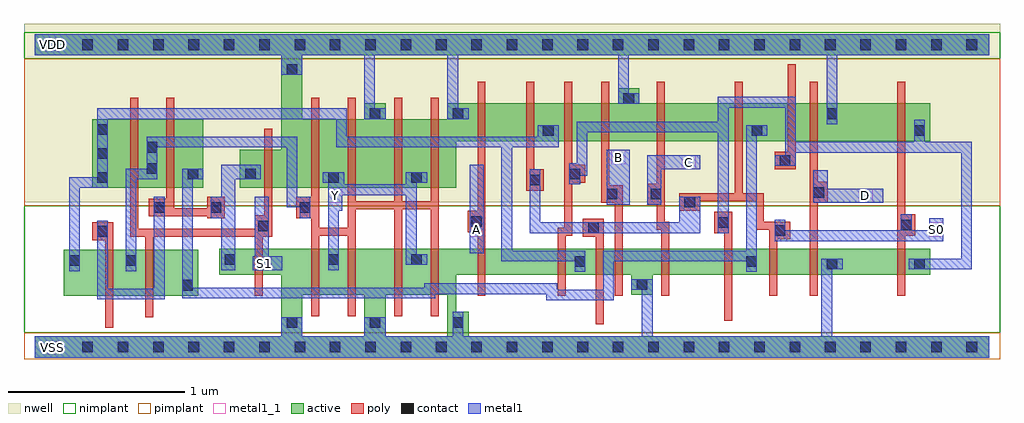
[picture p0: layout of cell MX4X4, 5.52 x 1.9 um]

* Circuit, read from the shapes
.subckt MX4X4 A B C D S0 S1 VDD VSS Y
M1 n1 n2 n3 VSS nfet w=0.26u l=0.045u
M2 n4 S1 n1 VSS nfet w=0.26u l=0.045u
M3 VSS S1 n2 VSS nfet w=0.145u l=0.045u
M4 Y n1 VSS VSS nfet w=0.26u l=0.045u m=4
M5 n5 A VSS VSS nfet w=0.145u l=0.045u
M6 n3 n6 n5 VSS nfet w=0.145u l=0.045u
M7 n7 S0 n3 VSS nfet w=0.145u l=0.045u
M8 VSS B n7 VSS nfet w=0.145u l=0.045u
M9 n8 C VSS VSS nfet w=0.145u l=0.045u
M10 n4 n6 n8 VSS nfet w=0.145u l=0.045u
M11 n9 S0 n4 VSS nfet w=0.145u l=0.045u
M12 VSS D n9 VSS nfet w=0.145u l=0.045u
M13 n6 S0 VSS VSS nfet w=0.145u l=0.045u
M14 n1 S1 n3 VDD pfet w=0.39u l=0.045u
M15 n4 n2 n1 VDD pfet w=0.39u l=0.045u
M16 VDD S1 n2 VDD pfet w=0.215u l=0.045u
M17 Y n1 VDD VDD pfet w=0.39u l=0.045u m=4
M18 n10 A VDD VDD pfet w=0.215u l=0.045u
M19 n3 S0 n10 VDD pfet w=0.215u l=0.045u
M20 n11 n6 n3 VDD pfet w=0.215u l=0.045u
M21 VDD B n11 VDD pfet w=0.215u l=0.045u
M22 n12 C VDD VDD pfet w=0.215u l=0.045u
M23 n4 S0 n12 VDD pfet w=0.215u l=0.045u
M24 n13 n6 n4 VDD pfet w=0.215u l=0.045u
M25 VDD D n13 VDD pfet w=0.215u l=0.045u
M26 n6 S0 VDD VDD pfet w=0.215u l=0.045u
.ends

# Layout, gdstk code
import gdstk
lib = gdstk.Library(unit=1e-6, precision=5e-10)
def R(c, l, rs):  # rectangles x0, y0, x1, y1
    for r in rs: c.add(gdstk.rectangle(r[:2], r[2:], *l))
def A(c, l, x, y, w, h, nx, ny, dx, dy):  # array of equal rectangles
    R(c, l, [(x+i*dx, y+j*dy, x+i*dx+w, y+j*dy+h) for i in range(nx) for j in range(ny)])
def P(c, l, *ps):  # polygons
    for p in ps: c.add(gdstk.Polygon(p, *l))
active = (1, 0)
nwell = (2, 0)
poly = (3, 0)
nimplant = (4, 0)
pimplant = (5, 0)
contact = (6, 0)
metal1 = (7, 0)
metal1_1 = (7, 1)

mx4x4 = lib.new_cell('MX4X4')
R(mx4x4, active, [(0.165,0.29,0.925,0.55), (0.325,0.9,0.955,1.29)])
P(mx4x4, active, [(0,1.77),(5.4,1.77),(5.4,1.65),(1.515,1.65),(1.515,1.29),(1.865,1.29),(1.865,1.38),(1.985,1.38),(1.985,1.29),(2.335,1.29),(2.335,1.38),(3.3,1.38),(3.3,1.465),(3.42,1.465),(3.42,1.38),(5.065,1.38),(5.065,1.165),(2.385,1.165),(2.385,0.9),(1.16,0.9),(1.16,1.115),(1.395,1.115),(1.395,1.65),(0,1.65)],
  [(1.045,0.555),(5.065,0.555),(5.065,0.41),(3.495,0.41),(3.495,0.295),(3.375,0.295),(3.375,0.41),(2.385,0.41),(2.385,0.2),(2.455,0.2),(2.455,0.06),(5.4,0.06),(5.4,-0.06),(0,-0.06),(0,0.06),(1.395,0.06),(1.395,0.295),(1.515,0.295),(1.515,0.06),(1.865,0.06),(1.865,0.295),(1.985,0.295),(1.985,0.06),(2.335,0.06),(2.335,0.295),(1.395,0.295),(1.395,0.41),(1.045,0.41)])
R(mx4x4, nwell, [(-0.06,0.82,5.46,1.83)])
P(mx4x4, poly, [(0.54,1.41),(0.585,1.41),(0.585,0.67),(1.245,0.67),(1.245,0.745),(1.3,0.745),(1.3,1.235),(1.345,1.235),(1.345,0.625),(1.29,0.625),(1.29,0.29),(1.245,0.29),(1.245,0.625),(0.67,0.625),(0.67,0.17),(0.625,0.17),(0.625,0.625),(0.54,0.625)],
  [(0.745,1.41),(0.79,1.41),(0.79,0.785),(0.975,0.785),(0.975,0.85),(1.075,0.85),(1.075,0.73),(0.975,0.73),(0.975,0.74),(0.645,0.74),(0.645,0.84),(0.745,0.84)],
  [(1.565,1.41),(1.61,1.41),(1.61,0.675),(1.77,0.675),(1.77,1.41),(1.815,1.41),(1.815,0.825),(2.035,0.825),(2.035,1.41),(2.08,1.41),(2.08,0.825),(2.24,0.825),(2.24,1.41),(2.285,1.41),(2.285,0.175),(2.24,0.175),(2.24,0.78),(2.08,0.78),(2.08,0.175),(2.035,0.175),(2.035,0.78),(1.815,0.78),(1.815,0.175),(1.77,0.175),(1.77,0.63),(1.61,0.63),(1.61,0.175),(1.565,0.175),(1.565,0.73),(1.48,0.73),(1.48,0.85),(1.565,0.85)],
  [(2.505,1.5),(2.55,1.5),(2.55,0.29),(2.505,0.29),(2.505,0.65),(2.45,0.65),(2.45,0.77),(2.505,0.77)],
  [(2.78,1.5),(2.825,1.5),(2.825,1.005),(2.88,1.005),(2.88,0.885),(2.78,0.885)],
  [(2.995,1.5),(3.04,1.5),(3.04,1.03),(3.115,1.03),(3.115,0.93),(3.04,0.93),(3.04,0.63),(3.005,0.63),(3.005,0.29),(2.96,0.29),(2.96,0.675),(2.995,0.675)],
  [(3.205,1.5),(3.25,1.5),(3.25,0.915),(3.325,0.915),(3.325,0.29),(3.28,0.29),(3.28,0.815),(3.205,0.815)],
  [(3.52,1.5),(3.565,1.5),(3.565,0.71),(3.59,0.71),(3.59,0.29),(3.545,0.29),(3.545,0.665),(3.52,0.665),(3.52,0.805),(3.465,0.805),(3.465,0.925),(3.52,0.925)],
  [(3.96,1.5),(4.005,1.5),(4.005,0.87),(4.125,0.87),(4.125,0.71),(4.275,0.71),(4.275,0.61),(4.2,0.61),(4.2,0.29),(4.155,0.29),(4.155,0.665),(4.08,0.665),(4.08,0.825),(3.765,0.825),(3.765,0.77),(3.645,0.77),(3.645,0.87),(3.96,0.87)],
  [(4.26,1.6),(4.305,1.6),(4.305,1.005),(4.185,1.005),(4.185,1.105),(4.26,1.105)],
  [(4.385,1.5),(4.43,1.5),(4.43,0.935),(4.485,0.935),(4.485,0.815),(4.43,0.815),(4.43,0.29),(4.385,0.29)],
  [(4.88,1.5),(4.925,1.5),(4.925,0.75),(4.98,0.75),(4.98,0.63),(4.925,0.63),(4.925,0.29),(4.88,0.29)],
  [(3.1,0.725),(3.22,0.725),(3.22,0.13),(3.175,0.13),(3.175,0.625),(3.1,0.625)],
  [(3.845,0.765),(3.945,0.765),(3.945,0.15),(3.9,0.15),(3.9,0.645),(3.845,0.645)],
  [(0.325,0.705),(0.445,0.705),(0.445,0.11),(0.4,0.11),(0.4,0.605),(0.325,0.605)])
R(mx4x4, nimplant, [(-0.06,0.08,5.46,0.8), (-0.06,1.63,5.46,1.78)])
R(mx4x4, pimplant, [(-0.06,-0.07,5.46,0.08), (-0.06,0.8,5.46,1.63)])
A(mx4x4, contact, 0.07, -0.03, 0.06, 0.06, 27, 2, 0.2, 1.71)
A(mx4x4, contact, 1.425, 0.11, 0.06, 0.06, 3, 1, 0.47, 0)
A(mx4x4, contact, 0.355, 0.93, 0.06, 0.06, 1, 3, 0, 0.135)
R(mx4x4, contact, [(0.835,0.32,0.895,0.38), (3.405,0.325,3.465,0.385), (4.48,0.44,4.54,0.5), (4.975,0.44,5.035,0.5), (3.055,0.455,3.115,0.515), (4.025,0.455,4.085,0.515), (0.195,0.46,0.255,0.52), (0.515,0.46,0.575,0.52), (1.075,0.465,1.135,0.525), (1.66,0.465,1.72,0.525), (2.13,0.465,2.19,0.525), (0.355,0.625,0.415,0.685), (4.185,0.63,4.245,0.69), (3.13,0.645,3.19,0.705), (1.265,0.655,1.325,0.715), (4.9,0.66,4.96,0.72), (3.865,0.675,3.925,0.735), (2.47,0.68,2.53,0.74), (0.675,0.76,0.735,0.82), (0.995,0.76,1.055,0.82), (1.5,0.76,1.56,0.82), (3.675,0.79,3.735,0.85), (3.235,0.835,3.295,0.895), (3.485,0.835,3.545,0.895), (4.405,0.845,4.465,0.905), (2.8,0.915,2.86,0.975), (1.66,0.93,1.72,0.99), (2.13,0.93,2.19,0.99), (0.865,0.95,0.925,1.01), (1.19,0.95,1.25,1.01), (3.025,0.95,3.085,1.01), (0.635,0.98,0.695,1.04), (4.215,1.025,4.275,1.085), (0.635,1.1,0.695,1.16), (2.875,1.195,2.935,1.255), (4.055,1.195,4.115,1.255), (4.975,1.195,5.035,1.255), (1.895,1.29,1.955,1.35), (2.365,1.29,2.425,1.35), (4.48,1.29,4.54,1.35), (3.33,1.375,3.39,1.435), (1.425,1.54,1.485,1.6)])
R(mx4x4, metal1, [(2.46,0.53,2.54,1.03), (3.235,0.805,3.365,1.115)])
P(mx4x4, metal1, [(0,1.77),(5.4,1.77),(5.4,1.65),(4.54,1.65),(4.54,1.26),(4.48,1.26),(4.48,1.65),(3.36,1.65),(3.36,1.435),(3.42,1.435),(3.42,1.375),(3.3,1.375),(3.3,1.65),(2.395,1.65),(2.395,1.35),(2.455,1.35),(2.455,1.29),(2.335,1.29),(2.335,1.65),(1.925,1.65),(1.925,1.35),(1.985,1.35),(1.985,1.29),(1.865,1.29),(1.865,1.65),(1.515,1.65),(1.515,1.54),(1.395,1.54),(1.395,1.65),(0,1.65)],
  [(0.355,1.35),(1.765,1.35),(1.765,1.19),(2.845,1.19),(2.845,1.255),(2.965,1.255),(2.965,1.13),(2.7,1.13),(2.7,0.545),(3.115,0.545),(3.115,0.425),(3.055,0.425),(3.055,0.485),(2.64,0.485),(2.64,1.13),(1.705,1.13),(1.705,1.29),(0.415,1.29),(0.415,0.9),(0.255,0.9),(0.255,0.43),(0.195,0.43),(0.195,0.96),(0.355,0.96)],
  [(0.635,1.19),(1.485,1.19),(1.485,0.85),(1.56,0.85),(1.56,0.73),(1.5,0.73),(1.5,0.79),(1.425,0.79),(1.425,1.13),(0.695,1.13),(0.695,0.95),(0.575,0.95),(0.575,0.43),(0.515,0.43),(0.515,1.01),(0.635,1.01)],
  [(3.865,1.415),(4.305,1.415),(4.305,1.16),(4.975,1.16),(4.975,1.285),(5.035,1.285),(5.035,1.16),(5.3,1.16),(5.3,0.44),(4.945,0.44),(4.945,0.5),(5.24,0.5),(5.24,1.1),(4.305,1.1),(4.305,1.025),(4.185,1.025),(4.185,1.085),(4.245,1.085),(4.245,1.355),(3.925,1.355),(3.925,0.645),(3.865,0.645),(3.865,1.215),(3.125,1.215),(3.125,0.97),(3.085,0.97),(3.085,0.92),(3.025,0.92),(3.025,1.04),(3.065,1.04),(3.065,1.275),(3.865,1.275)],
  [(4.025,1.255),(4.145,1.255),(4.145,1.195),(4.085,1.195),(4.085,0.425),(4.025,0.425),(4.025,0.485),(3.275,0.485),(3.275,0.265),(2.895,0.265),(2.895,0.3),(2.265,0.3),(2.265,0.275),(0.835,0.275),(0.835,1.01),(0.955,1.01),(0.955,0.95),(0.895,0.95),(0.895,0.335),(2.205,0.335),(2.205,0.36),(2.955,0.36),(2.955,0.325),(3.215,0.325),(3.215,0.545),(4.025,0.545)],
  [(1.055,1.03),(1.28,1.03),(1.28,0.95),(1.135,0.95),(1.135,0.435),(1.055,0.435),(1.055,0.73),(0.995,0.73),(0.995,0.85),(1.055,0.85)],
  [(1.63,0.99),(1.75,0.99),(1.75,0.92),(2.1,0.92),(2.1,0.99),(2.22,0.99),(2.22,0.93),(2.16,0.93),(2.16,0.525),(2.22,0.525),(2.22,0.465),(2.1,0.465),(2.1,0.86),(1.74,0.86),(1.74,0.77),(1.72,0.77),(1.72,0.435),(1.66,0.435),(1.66,0.93),(1.63,0.93)],
  [(0.355,0.715),(0.415,0.715),(0.415,0.33),(0.675,0.33),(0.675,0.85),(0.735,0.85),(0.735,0.27),(0.355,0.27)],
  [(1.245,0.85),(1.325,0.85),(1.325,0.515),(1.4,0.515),(1.4,0.435),(1.235,0.435),(1.235,0.515),(1.245,0.515)],
  [(2.8,1.005),(2.86,1.005),(2.86,0.705),(3.645,0.705),(3.645,0.85),(3.765,0.85),(3.765,0.645),(2.8,0.645)],
  [(3.465,1.085),(3.765,1.085),(3.765,1.005),(3.545,1.005),(3.545,0.805),(3.465,0.805)],
  [(4.405,1),(4.485,1),(4.485,0.895),(4.8,0.895),(4.8,0.815),(4.405,0.815)],
  [(4.185,0.72),(4.245,0.72),(4.245,0.66),(4.9,0.66),(4.9,0.75),(4.96,0.75),(4.96,0.66),(5.06,0.66),(5.06,0.73),(5.14,0.73),(5.14,0.6),(4.185,0.6)],
  [(4.45,0.5),(4.57,0.5),(4.57,0.44),(4.51,0.44),(4.51,0.06),(5.4,0.06),(5.4,-0.06),(0,-0.06),(0,0.06),(1.395,0.06),(1.395,0.17),(1.515,0.17),(1.515,0.06),(1.865,0.06),(1.865,0.17),(1.985,0.17),(1.985,0.06),(2.365,0.06),(2.365,0.2),(2.425,0.2),(2.425,0.06),(3.435,0.06),(3.435,0.325),(3.375,0.325),(3.375,0.385),(3.495,0.385),(3.495,0.06),(4.45,0.06)])
R(mx4x4, metal1_1, [(0.06,-0.04,0.14,0.04), (1.26,0.435,1.34,0.515), (2.46,0.625,2.54,0.705), (5.06,0.625,5.14,0.705), (1.66,0.815,1.74,0.895), (4.66,0.815,4.74,0.895), (3.66,1.005,3.74,1.085), (3.26,1.035,3.34,1.115), (0.06,1.67,0.14,1.75)])
mx4x4.add(gdstk.Label('S0', (5.1,0.665), layer=7, texttype=1))
mx4x4.add(gdstk.Label('D', (4.7,0.855), layer=7, texttype=1))
mx4x4.add(gdstk.Label('C', (3.7,1.045), layer=7, texttype=1))
mx4x4.add(gdstk.Label('B', (3.3,1.075), layer=7, texttype=1))
mx4x4.add(gdstk.Label('A', (2.5,0.665), layer=7, texttype=1))
mx4x4.add(gdstk.Label('S1', (1.3,0.475), layer=7, texttype=1))
mx4x4.add(gdstk.Label('Y', (1.7,0.855), layer=7, texttype=1))
mx4x4.add(gdstk.Label('VDD', (0.1,1.71), layer=7, texttype=1))
mx4x4.add(gdstk.Label('VSS', (0.1,0), layer=7, texttype=1))
mx4x4.add(gdstk.Label('MX4X4', (0,0), layer=63, texttype=0))

lib.write_gds('MX4X4.gds')
